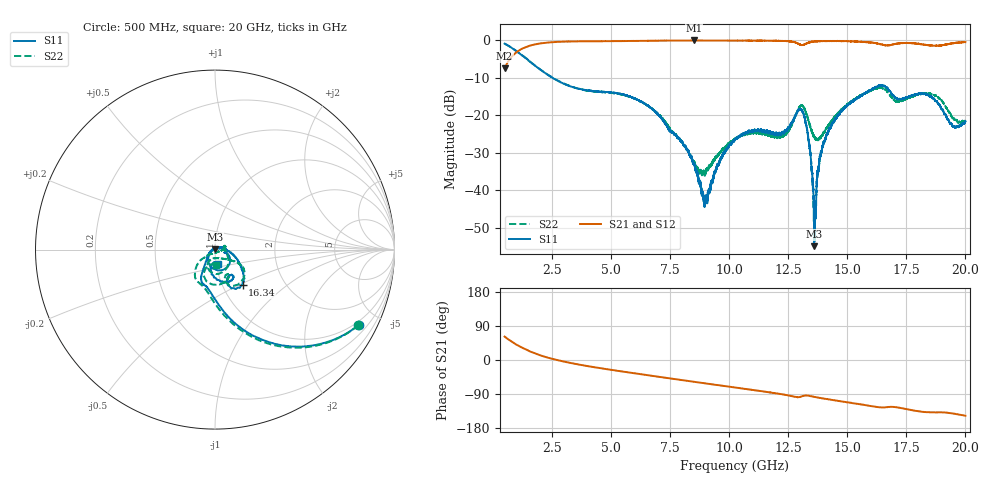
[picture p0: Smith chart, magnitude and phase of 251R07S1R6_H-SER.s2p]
!{201R07S1R6}
!Johanson Technology Inc.
!www.johansontechnology.com
!Test Board Conditions:
!Substrate Type  RO4350B
!Substrate Thickness  10 mil
!Substrate Dk  3.66
!TL Type: GCPW
!TL Trace Width  21 mil
!TL Gap  20 mil
!Electrode orientation  Horizontal
!DUT TOPOLOGY	SERIES
!Mounting Pad LxW  16x21 mil
!Agilent Technologies,N5230A,MY45001966,A.07.50.67
!Agilent N5230A: A.07.50.67
! Created Mon Mar  9 16:24:09 2020
# mhz S ma R 50
! 2 Port Network Data from SP1.SP block
! freq  magS11  angS11  magS21  angS21  magS12  angS12  magS22  angS22
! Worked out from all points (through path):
!   19501 points, 500 MHz to 20 GHz, reference 50 ohm
!   highest |S21| = -0.03 dB at 8.518 GHz (marker M1); lowest = -7.5 dB at 500 MHz (marker M2)
!   group delay of S21, straight-line fit = 25.2 ps
!   lowest |S11| = -54.8 dB at 13.6 GHz (marker M3), VSWR 1.00, Z = 49.9 + j0.149 ohm
!   |S11| at or under -10 dB: 2.535 GHz to end of sweep
!   |S22| runs from -36.1 to -0.9 dB; largest |S21 - S12| = 0.014
!   S11 on the Smith chart (normalised r, x): 500 MHz: 0.85, -3.88; 16.34 GHz: 1.24, -0.52; 20 GHz: 1.03, -0.17
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500  0.9037 -27.7  0.422 61.8  0.4234 61.9  0.9034 -27.8
1815  0.4526 -72.4  0.8862 16.5  0.8877 16.6  0.455 -73.7
3750  0.2224 -99.7  0.9701 -13.3  0.9696 -13.2  0.2213 -105.4
5723  0.1817 -115.3  0.9786 -32.6  0.9797 -32.5  0.1797 -128.6
7000  0.1026 -123.4  0.9898 -44.2  0.9898 -44.2  0.1041 -143.5
8518  0.02276 -163.3  0.9961 -57.6  0.9948 -57.6  0.02402 -115.9
9011  0.007829 110.7  0.9947 -61.8  0.9941 -61.8  0.01822 -56.9
9685  0.02748 32.1  0.9927 -67.7  0.9915 -67.7  0.03418 -12.3
10250  0.04822 12.6  0.991 -72.5  0.991 -72.5  0.04896 3.9
12238  0.05873 -16.1  0.9819 -90.5  0.9829 -90.6  0.05261 5.6
13032  0.1203 -70.3  0.8704 -97.2  0.8699 -97.0  0.1336 -76.2
13284  0.06962 -124.5  0.9123 -93.7  0.912 -93.6  0.1017 -114.4
13500  0.01897 -160.7  0.9569 -96.0  0.9553 -95.9  0.06116 -114.1
13599  0.001812 124.3  0.9678 -97.2  0.9647 -97.4  0.05309 -103.2
13676  0.007076 37.5  0.9695 -98.0  0.9743 -98.2  0.04832 -93.7
13914  0.03196 14.2  0.9771 -101.0  0.9757 -100.8  0.05257 -64.9
14306  0.07088 -5.6  0.9784 -105.0  0.9802 -104.9  0.08133 -41.7
16344  0.2487 -52.0  0.8989 -124.7  0.8932 -124.5  0.2331 -52.2
16750  0.2186 -68.7  0.8605 -123.9  0.8537 -123.9  0.1975 -71.2
18595  0.1702 -83.2  0.8529 -138.3  0.8508 -138.1  0.1908 -98.5
19499  0.07182 -93.2  0.9178 -141.6  0.9189 -141.0  0.09138 -110.1
20000  0.08328 -76.6  0.9467 -147.0  0.9465 -147.0  0.08597 -85.8
